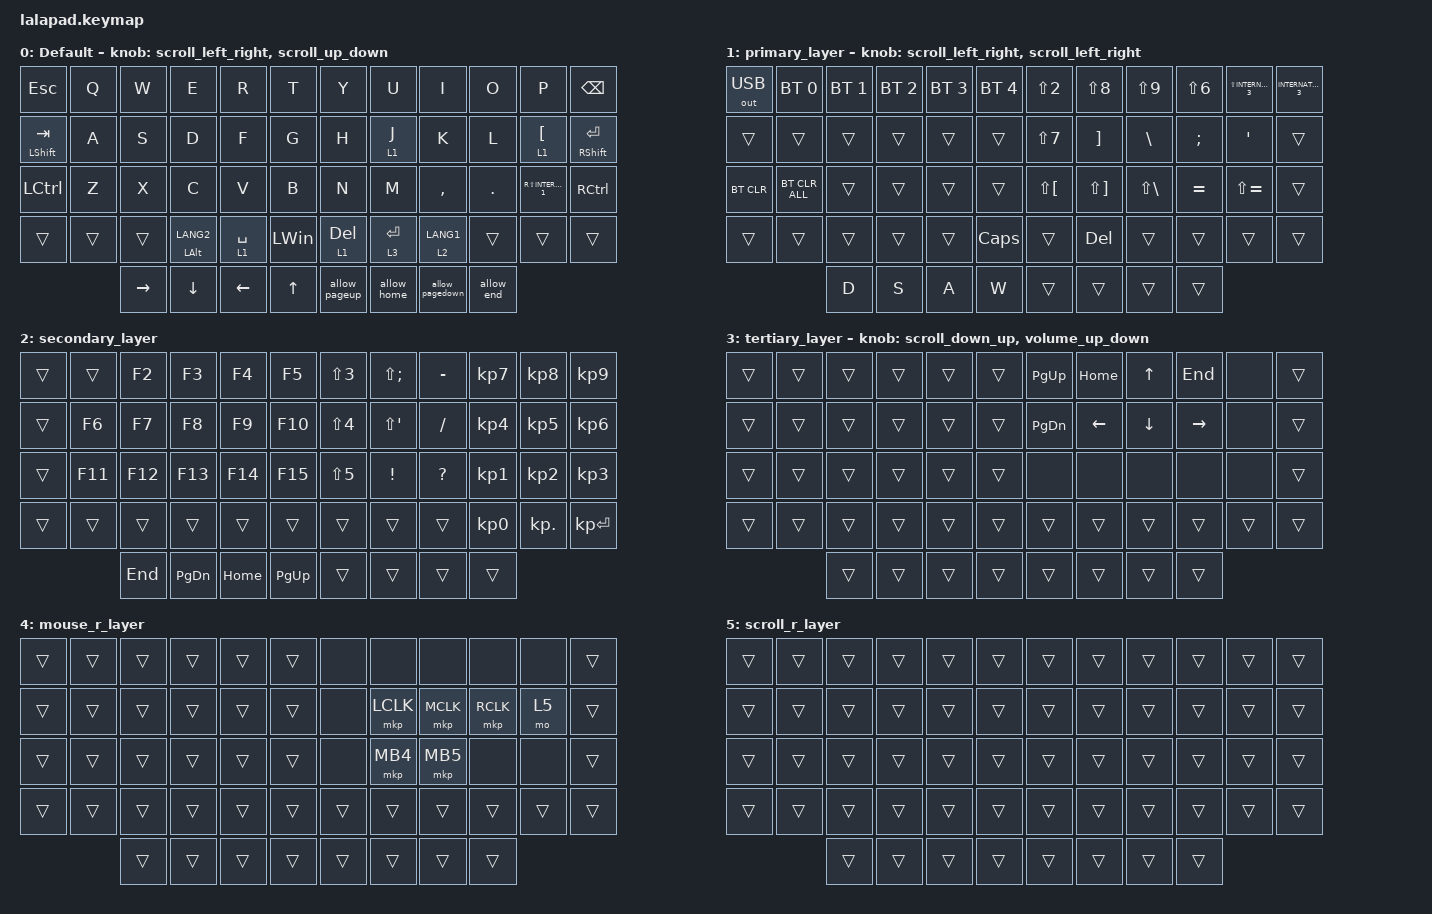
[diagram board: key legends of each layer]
#include <input/processors.dtsi>
#include <behaviors.dtsi>
#include <dt-bindings/zmk/bt.h>
#include <dt-bindings/zmk/keys.h>
#include <dt-bindings/zmk/outputs.h>
#include <dt-bindings/zmk/pointing.h>

#define DEFAULT_LAYER   0
#define SECONDARY_LAYER 1
#define TERTIARY_LAYER  2
#define SYSTEM_LAYER    3
#define MOUSE_R_LAYER   4
#define SCROLL_R_LAYER  5
#define MOUSE_L_LAYER   6
#define SCROLL_L_LAYER  7

// Mouse Scroll Value

#define ZMK_POINTING_DEFAULT_SCRL_VAL 100

// cirque trackpad input&layer control

&glidepoint_listener_R {
    input-processors =
        <&zip_xy_transform (INPUT_TRANSFORM_XY_SWAP | INPUT_TRANSFORM_X_INVERT | INPUT_TRANSFORM_Y_INVERT)>,
        <&zip_xy_scaler 3 2>,
        <&zip_temp_layer MOUSE_R_LAYER 500>;

    lowspeedmode {
        layers = <SECONDARY_LAYER>;
        input-processors =
            <&zip_xy_transform (INPUT_TRANSFORM_XY_SWAP | INPUT_TRANSFORM_X_INVERT | INPUT_TRANSFORM_Y_INVERT)>,
            <&zip_xy_scaler 3 5>,
            <&zip_temp_layer MOUSE_R_LAYER 500>;
    };

    scroller {
        layers = <SCROLL_R_LAYER>;
        input-processors =
            <&zip_xy_to_scroll_mapper>,
            <&zip_scroll_transform (INPUT_TRANSFORM_XY_SWAP | INPUT_TRANSFORM_Y_INVERT)>,
            <&zip_scroll_scaler 1 8>;
    };
};

&glidepoint_listener_L {
    input-processors =
        <&zip_xy_transform (INPUT_TRANSFORM_XY_SWAP | INPUT_TRANSFORM_X_INVERT | INPUT_TRANSFORM_Y_INVERT)>,
        <&zip_xy_scaler 3 2>,
        <&zip_temp_layer MOUSE_L_LAYER 500>;

    lowspeedmode {
        layers = <SECONDARY_LAYER>;
        input-processors =
            <&zip_xy_transform (INPUT_TRANSFORM_XY_SWAP | INPUT_TRANSFORM_X_INVERT | INPUT_TRANSFORM_Y_INVERT)>,
            <&zip_xy_scaler 3 4>,
            <&zip_temp_layer MOUSE_L_LAYER 500>;
    };

    scroller {
        layers = <SCROLL_L_LAYER>;
        input-processors =
            <&zip_xy_to_scroll_mapper>,
            <&zip_scroll_transform (INPUT_TRANSFORM_XY_SWAP | INPUT_TRANSFORM_Y_INVERT)>,
            <&zip_scroll_scaler 1 6>;
    };
};

/ {
    behaviors {
        // Encoder to Mouse Scroll

        scroll_up_down: sensor_scroll_up_down {
            compatible = "zmk,behavior-sensor-rotate";
            #sensor-binding-cells = <0>;
            bindings = <&msc SCRL_UP>, <&msc SCRL_DOWN>;

            tap-ms = <20>;
            label = "SCROLL_UP_DOWN";
        };

        scroll_down_up: sensor_scroll_down_up {
            compatible = "zmk,behavior-sensor-rotate";
            #sensor-binding-cells = <0>;
            bindings = <&msc SCRL_DOWN>, <&msc SCRL_UP>;

            tap-ms = <20>;
            label = "SCROLL_DOWN_UP";
        };

        scroll_left_right: sensor_scroll_left_right {
            compatible = "zmk,behavior-sensor-rotate";
            #sensor-binding-cells = <0>;
            bindings = <&msc SCRL_LEFT>, <&msc SCRL_RIGHT>;

            tap-ms = <20>;
            label = "SCROLL_LEFT_RIGHT";
        };

        scroll_right_left: sensor_scroll_right_left {
            compatible = "zmk,behavior-sensor-rotate";
            #sensor-binding-cells = <0>;
            bindings = <&msc SCRL_RIGHT>, <&msc SCRL_LEFT>;

            tap-ms = <20>;
            label = "SCROLL_RIGHT_LEFT";
        };

        volume_up_down: sensor_volume_up_down {
            compatible = "zmk,behavior-sensor-rotate";
            #sensor-binding-cells = <0>;
            bindings = <&kp C_VOLUME_UP>, <&kp C_VOLUME_DOWN>;

            tap-ms = <20>;
            label = "VOLUME_UP_DOWN";
        };

        dot_comma: dot_comma {
            compatible = "zmk,behavior-mod-morph";
            #binding-cells = <0>;
            bindings = <&kp KP_DOT>, <&kp COMMA>;

            mods = <(MOD_LSFT|MOD_RSFT)>;
            label = "DOT_COMMA";
        };

        pls_minus: pls_minus {
            compatible = "zmk,behavior-mod-morph";
            #binding-cells = <0>;
            bindings = <&kp PLUS>, <&kp MINUS>;

            mods = <(MOD_LSFT|MOD_RSFT)>;
            label = "PLS_MINUS";
        };

        allow_pageup: allow_pageup {
            compatible = "zmk,behavior-mod-morph";
            #binding-cells = <0>;
            bindings = <&kp UP>, <&kp PAGE_UP>;

            mods = <(MOD_LCTL|MOD_RCTL)>;
            label = "ALLOW_PAGEUP";
        };

        allow_pagedown: allow_pagedown {
            compatible = "zmk,behavior-mod-morph";
            #binding-cells = <0>;
            bindings = <&kp DOWN>, <&kp PAGE_DOWN>;

            mods = <(MOD_LCTL|MOD_RCTL)>;
            label = "ALLOW_PAGEDOWN";
        };

        allow_home: allow_home {
            compatible = "zmk,behavior-mod-morph";
            #binding-cells = <0>;
            bindings = <&kp LEFT>, <&kp HOME>;

            mods = <(MOD_LCTL|MOD_RCTL)>;
            label = "ALLOW_HOME";
        };

        allow_end: allow_end {
            compatible = "zmk,behavior-mod-morph";
            #binding-cells = <0>;
            bindings = <&kp RIGHT>, <&kp END>;

            mods = <(MOD_LCTL|MOD_RCTL)>;
            label = "ALLOW_END";
        };

        mt2: mod_tap2 {
            compatible = "zmk,behavior-hold-tap";
            #binding-cells = <2>;
            flavor = "tap-preferred";
            tapping-term-ms = <200>;
            quick-tap-ms = <200>;
            require-prior-idle-ms = <125>;
            bindings = <&kp>, <&kp>;
        };
    };

    keymap {
        compatible = "zmk,keymap";

        DEFAULT_LAYER {
            display-name = "Default";
            sensor-bindings = <&scroll_left_right>, <&scroll_up_down>;

            bindings = <
&kp ESC         &kp Q   &kp W      &kp E               &kp R        &kp T         &kp Y          &kp U        &kp I            &kp O       &kp P                    &kp BACKSPACE
&mt LSHIFT TAB  &kp A   &kp S      &kp D               &kp F        &kp G         &kp H          &lt 1 J      &kp K            &kp L       &lt 1 LBKT               &mt RSHIFT ENTER
&kp LCTRL       &kp Z   &kp X      &kp C               &kp V        &kp B         &kp N          &kp M        &kp COMMA        &kp PERIOD  &kp RS(INTERNATIONAL_1)  &kp RCTRL
&trans          &trans  &trans     &mt LEFT_ALT LANG2  &lt 1 SPACE  &kp LEFT_WIN  &lt 1 DEL      &lt 3 ENTER  &lt 2 LANG1      &trans      &trans                   &trans
                        &kp RIGHT  &kp DOWN            &kp LEFT     &kp UP        &allow_pageup  &allow_home  &allow_pagedown  &allow_end
            >;
        };

        PRIMARY_LAYER {
            display-name = "primary_layer";
            sensor-bindings = <&scroll_left_right>, <&scroll_left_right>;

            bindings = <
&out OUT_USB  &bt BT_SEL 0    &bt BT_SEL 1  &bt BT_SEL 2  &bt BT_SEL 3  &bt BT_SEL 4  &kp LS(NUMBER_2)  &kp LS(NUMBER_8)  &kp LS(NUMBER_9)  &kp LS(NUMBER_6)  &kp LS(INTERNATIONAL_3)  &kp INTERNATIONAL_3
&trans        &trans          &trans        &trans        &trans        &trans        &kp LS(NUMBER_7)  &kp RBKT          &kp BSLH          &kp SEMI          &kp SQT                  &trans
&bt BT_CLR    &bt BT_CLR_ALL  &trans        &trans        &trans        &trans        &kp LS(LBKT)      &kp LS(RBKT)      &kp LS(BSLH)      &kp EQUAL         &kp LS(EQUAL)            &trans
&trans        &trans          &trans        &trans        &trans        &kp CAPS      &trans            &kp DELETE        &trans            &trans            &trans                   &trans
                              &kp D         &kp S         &kp A         &kp W         &trans            &trans            &trans            &trans
            >;
        };

        SECONDARY_LAYER {
            display-name = "secondary_layer";
            bindings = <
&trans  &trans   &kp F2   &kp F3     &kp F4    &kp F5     &kp LS(NUMBER_3)  &kp LS(SEMI)  &kp MINUS  &kp KP_NUMBER_7  &kp KP_NUMBER_8  &kp KP_NUMBER_9
&trans  &kp F6   &kp F7   &kp F8     &kp F9    &kp F10    &kp LS(NUMBER_4)  &kp LS(SQT)   &kp SLASH  &kp KP_NUMBER_4  &kp KP_NUMBER_5  &kp KP_NUMBER_6
&trans  &kp F11  &kp F12  &kp F13    &kp F14   &kp F15    &kp LS(NUMBER_5)  &kp EXCL      &kp QMARK  &kp KP_NUMBER_1  &kp KP_NUMBER_2  &kp KP_NUMBER_3
&trans  &trans   &trans   &trans     &trans    &trans     &trans            &trans        &trans     &kp KP_NUMBER_0  &kp KP_DOT       &kp KP_ENTER
                 &kp END  &kp PG_DN  &kp HOME  &kp PG_UP  &trans            &trans        &trans     &trans
            >;
        };

        TERTIARY_LAYER {
            display-name = "tertiary_layer";
            sensor-bindings = <&scroll_down_up>, <&volume_up_down>;

            bindings = <
&trans  &trans  &trans  &trans  &trans  &trans  &kp PAGE_UP    &kp HOME  &kp UP    &kp END    &none   &trans
&trans  &trans  &trans  &trans  &trans  &trans  &kp PAGE_DOWN  &kp LEFT  &kp DOWN  &kp RIGHT  &none   &trans
&trans  &trans  &trans  &trans  &trans  &trans  &none          &none     &none     &none      &none   &trans
&trans  &trans  &trans  &trans  &trans  &trans  &trans         &trans    &trans    &trans     &trans  &trans
                &trans  &trans  &trans  &trans  &trans         &trans    &trans    &trans
            >;
        };

        MOUSE_R_LAYER {
            display-name = "mouse_r_layer";
            bindings = <
&trans  &trans  &trans  &trans  &trans  &trans  &none   &none      &none      &none      &none   &trans
&trans  &trans  &trans  &trans  &trans  &trans  &none   &mkp LCLK  &mkp MCLK  &mkp RCLK  &mo 5   &trans
&trans  &trans  &trans  &trans  &trans  &trans  &none   &mkp MB4   &mkp MB5   &none      &none   &trans
&trans  &trans  &trans  &trans  &trans  &trans  &trans  &trans     &trans     &trans     &trans  &trans
                &trans  &trans  &trans  &trans  &trans  &trans     &trans     &trans
            >;
        };

        SCROLL_R_LAYER {
            display-name = "scroll_r_layer";
            bindings = <
&trans  &trans  &trans  &trans  &trans  &trans  &trans  &trans  &trans  &trans  &trans  &trans
&trans  &trans  &trans  &trans  &trans  &trans  &trans  &trans  &trans  &trans  &trans  &trans
&trans  &trans  &trans  &trans  &trans  &trans  &trans  &trans  &trans  &trans  &trans  &trans
&trans  &trans  &trans  &trans  &trans  &trans  &trans  &trans  &trans  &trans  &trans  &trans
                &trans  &trans  &trans  &trans  &trans  &trans  &trans  &trans
            >;
        };
    };
};
